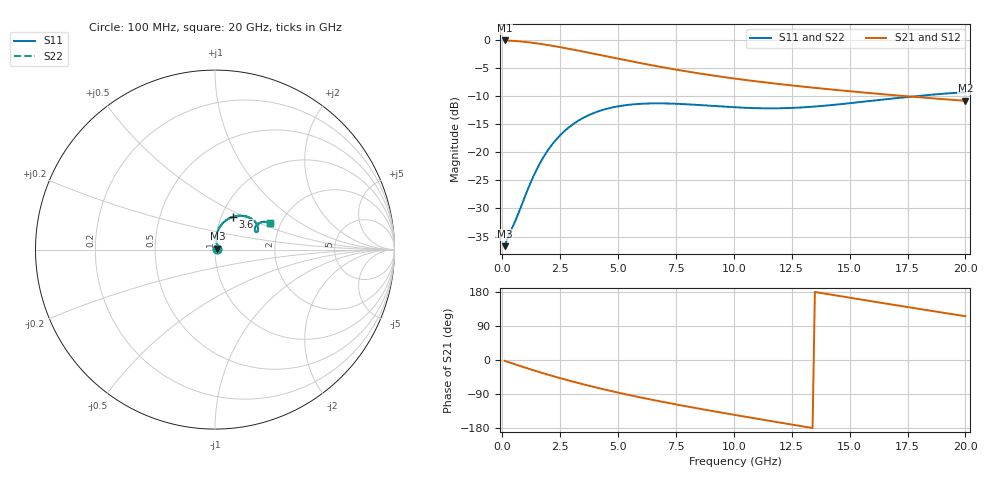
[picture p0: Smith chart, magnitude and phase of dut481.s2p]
! Touchstone file exported from HFSS 2024.1.0
!  File:  C:/UserFiles/LocalFiles/RDL_TSV_Batchsim/temp_RDL_TSV_481_1779732304.aedt
!  Generated:  02:20:01 AM May 26, 2026
!  Design:  RDL_TSV
!  Project:  temp_RDL_TSV_481_1779732304
!  Setup:  Setup1
!  Solution:  Sweep
! Variables:
!  dtsv = 9.66um
!  hbump = 3um
!  htsv = 56.72um
!  ldown = 511.03um
!  lrdl = 592.63um
!  p = 40
!  p1 = 56.65um
!  rhole = 10um
!  subl = 3903.61um
!  t = 450um
!  tdown = 4.86um
!  trdl = 3.92um
!  viad = 10um
!  wdown = 21.44um
!  wrdl = 27.84um
!  xbump = 18um
# GHz S MA R 50.000000
! Terminal data exported
! Port[1] = TM1_1_T1
! Port[2] = TM1_4_T1
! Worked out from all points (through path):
!   200 points, 100 MHz to 20 GHz, reference 50 ohm
!   highest |S21| = -0.13 dB at 100 MHz (marker M1); lowest = -10.9 dB at 20 GHz (marker M2)
!   group delay of S21, straight-line fit = 32 ps
!   lowest |S11| = -36.7 dB at 100 MHz (marker M3), VSWR 1.03, Z = 51.4 + j0.456 ohm
!   |S11| at or under -10 dB: start of sweep to 17.99 GHz
!   |S22| runs from -36.7 to -9.4 dB; largest |S21 - S12| = 1.1e-14
!   S11 on the Smith chart (normalised r, x): 100 MHz: 1.03, +0.01; 3.6 GHz: 1.13, +0.43; 20 GHz: 1.75, +0.60
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0.1  0.0146 17.7  0.9857 -2.1  0.9857 -2.1  0.0146 17.7
! Gamma 0 0 0 0
! Port Impedance 50 0 50 0
0.5  0.02291 52.9  0.9765 -10.4  0.9765 -10.4  0.0229 53.0
0.9  0.03672 74.3  0.9613 -18.4  0.9613 -18.4  0.03676 74.5
1.4  0.06467 83.4  0.9346 -28.1  0.9346 -28.1  0.06485 83.6
1.8  0.09195 82.8  0.9089 -35.6  0.9089 -35.6  0.09227 83.0
2.2  0.1206 79.3  0.881 -42.7  0.881 -42.7  0.121 79.5
2.6  0.1484 74.5  0.8517 -49.6  0.8517 -49.6  0.1491 74.7
3  0.1742 69.3  0.8219 -56.3  0.8219 -56.3  0.175 69.4
3.5  0.2023 62.7  0.7846 -64.2  0.7846 -64.2  0.2033 62.8
3.6  0.2073 61.4  0.7772 -65.8  0.7772 -65.8  0.2084 61.5
4.3  0.2365 52.9  0.7267 -76.2  0.7267 -76.2  0.2378 53.0
5.2  0.2598 43.5  0.6663 -88.8  0.6663 -88.8  0.2613 43.5
6  0.2696 36.7  0.6181 -99.2  0.6181 -99.2  0.2713 36.7
6.8  0.2719 31.3  0.5755 -109.0  0.5755 -109.0  0.2737 31.3
8.3  0.2643 25.1  0.5095 -126.2  0.5095 -126.2  0.2662 24.9
10.1  0.2504 23.2  0.4498 -145.6  0.4498 -145.6  0.2522 22.9
11.7  0.2455 25.2  0.4094 -162.2  0.4094 -162.2  0.2469 24.9
13.4  0.2538 28.6  0.3752 -179.5  0.3752 -179.5  0.2547 28.2
15.1  0.2741 30.8  0.347 163.4  0.347 163.4  0.2745 30.4
16.7  0.2979 30.8  0.3243 147.6  0.3243 147.6  0.2979 30.4
18.3  0.321 28.9  0.3046 131.9  0.3046 131.9  0.3204 28.6
20  0.3415 26.2  0.2866 115.5  0.2866 115.5  0.3407 25.9
